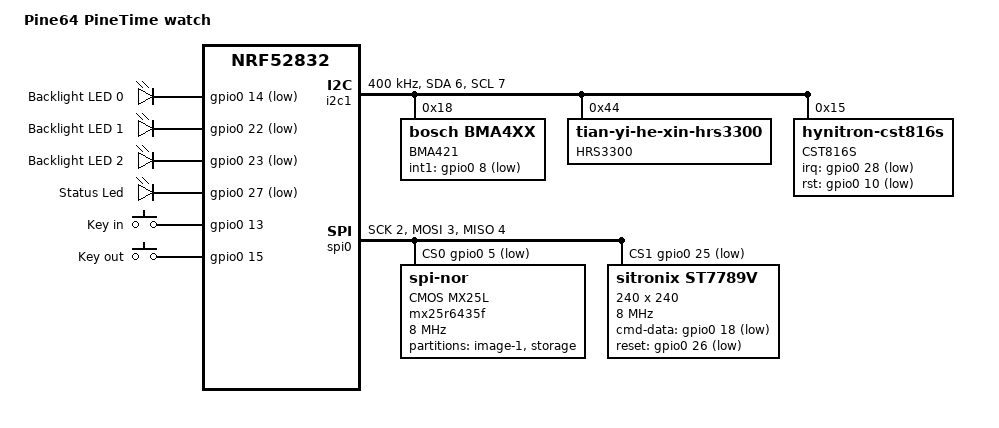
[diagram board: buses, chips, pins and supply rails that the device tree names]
/*
 * Copyright (c) 2020 Stephane Dorre <stephane.dorre@gmail.com>
 * Copyright (c) 2021 Alex Dolzhenkov <admin@alexx.pw>
 *
 * SPDX-License-Identifier: Apache-2.0
 *
 * DTS for Pine64 PineTime watch board
 * Further info: https://wiki.pine64.org/index.php/PineTime
 */

/dts-v1/;
#include <nordic/nrf52832_qfaa.dtsi>

/ {
	model = "Pine64 PineTime watch";
	compatible = "pine64,pinetime-watch";

	chosen {
		zephyr,sram = &sram0;
		zephyr,flash = &flash0;
		zephyr,code-partition = &slot0_partition;
	};

	aliases {
		led0 = &blled0;	/* backlight low */
		led1 = &blled1;	/* backlight mid */
		led2 = &blled2;	/* backlight high */
		led3 = &statusled;	/* status led, may be not populated */
		sw0 = &key_in;  /* key in */
		sw1 = &key_out;  /* key out */
	};

	leds {
		compatible = "gpio-leds";
		blled0: bl_led_0 {
			gpios = <&gpio0 14 GPIO_ACTIVE_LOW>;
			label = "Backlight LED 0";
		};
		blled1: bl_led_1 {
			gpios = <&gpio0 22 GPIO_ACTIVE_LOW>;
			label = "Backlight LED 1";
		};
		blled2: bl_led_2 {
			gpios = <&gpio0 23 GPIO_ACTIVE_LOW>;
			label = "Backlight LED 2";
		};
		statusled: led_3 {
			gpios = <&gpio0 27 GPIO_ACTIVE_LOW>;
			label = "Status Led";
		};
	};

	buttons {
		compatible = "gpio-keys";
		key_in: button_0 {
			gpios = <&gpio0 13 GPIO_ACTIVE_HIGH>;
			label = "Key in";
		};
		key_out: button_1 {
			gpios = <&gpio0 15 GPIO_ACTIVE_HIGH>;
			label = "Key out";
		};
	};
};

&gpiote {
	status = "okay";
};

&gpio0 {
	status = "okay";
};

&i2c1 {
	compatible = "nordic,nrf-twim";
	status = "okay";
	sda-pin = <6>;
	scl-pin = <7>;
	clock-frequency = <I2C_BITRATE_FAST>; /* 400KHz */

	/* BOSCH BMA421 Triaxial Acceleration Sensor (1000KHz) */
	bma421: bma421@18 {
		compatible = "bosch,bma4xx";
		reg = <0x18>;
		label = "BMA421";
		int1-gpios = <&gpio0 8 GPIO_ACTIVE_LOW>;
	};

	/* TianYiHeXin HRS3300 PPG Hear Rate Sensor (800KHz) */
	hrs3300: hrs3300@44 {
		compatible = "tian-yi-he-xin-hrs3300";
		reg = <0x44>;
		label = "HRS3300";
	};

	/* Hynitron CST816S Capacitive Touch Controller (400KHz) */
	cst816s: cst816s@15 {
		compatible = "hynitron-cst816s";
		reg = <0x15>;
		label = "CST816S";
		irq-gpios = <&gpio0 28 GPIO_ACTIVE_LOW>;
		rst-gpios = <&gpio0 10 GPIO_ACTIVE_LOW>;
	};
};

&spi0 {
	compatible = "nordic,nrf-spi";
	status = "okay";
	sck-pin = <2>;
	mosi-pin = <3>;
	miso-pin = <4>;

	cs-gpios = <&gpio0 5 GPIO_ACTIVE_LOW>, <&gpio0 25 GPIO_ACTIVE_LOW>;

	/* Macronix MX25L CMOS Flash Memory */
	flash1: mx25r6435f@0 {
		compatible = "jedec,spi-nor";
		reg = <0>;
		spi-max-frequency = <8000000>; /* 8MHz */
		label = "CMOS MX25L";
		jedec-id = [0b 40 16];
		size = <67108864>;
	};

	/* Sitronix ST7789V LCD */
	st7789v: st7789v@1 {
		compatible = "sitronix,st7789v";
		reg = <1>;
		spi-max-frequency = <8000000>; /* 8MHz */
		label = "ST7789V";
		cmd-data-gpios = <&gpio0 18 GPIO_ACTIVE_LOW>;	/* DET */
		reset-gpios = <&gpio0 26 GPIO_ACTIVE_LOW>;	/* RESX reset */
		width = <240>;
		height = <240>;
		x-offset = <0>;
		y-offset = <0>;
		vcom = <0x19>;
		gctrl = <0x35>;
		vrhs = <0x12>;
		vdvs = <0x20>;
		mdac = <0x00>;
		gamma = <0x01>;
		colmod = <0x05>;
		lcm = <0x2c>;
		porch-param = [0c 0c 00 33 33];
		cmd2en-param = [5a 69 02 01];
		pwctrl1-param = [a4 a1];
		pvgam-param = [D0 04 0D 11 13 2B 3F 54 4C 18 0D 0B 1F 23];
		nvgam-param = [D0 04 0C 11 13 2C 3F 44 51 2F 1F 1F 20 23];
		ram-param = [00 F0];
		rgb-param = [CD 08 14];
	};
};

&flash0 {
	/*
	 * For more information, see:
	 * https://docs.zephyrproject.org/latest/guides/dts/legacy-macros.html#legacy-flash-partitions
	 */
	partitions {
		compatible = "fixed-partitions";
		#address-cells = <1>;
		#size-cells = <1>;

		boot_partition: partition@0 {
			label = "mcuboot";
			reg = <0x00000000 0x8000>;
		};
		slot0_partition: partition@8000 {
			label = "image-0";
			reg = <0x00008000 0x74000>;
		};
		scratch_partition: partition@7c000 {
			label = "image-scratch";
			reg = <0x0007c000 0xa000>;
		};
	};
};

&flash1 {
	/*
	 * For more information, see:
	 * https://docs.zephyrproject.org/latest/guides/dts/legacy-macros.html#legacy-flash-partitions
	 */
	partitions {
		compatible = "fixed-partitions";
		#address-cells = <1>;
		#size-cells = <1>;

		slot1_partition: partition@40000 {
			label = "image-1";
			reg = <0x00040000 0x74000>;
		};
		storage_partition: partition@b4000 {
			label = "storage";
			reg = <0x000b4000 0x0034c000>;
		};
	};
};
